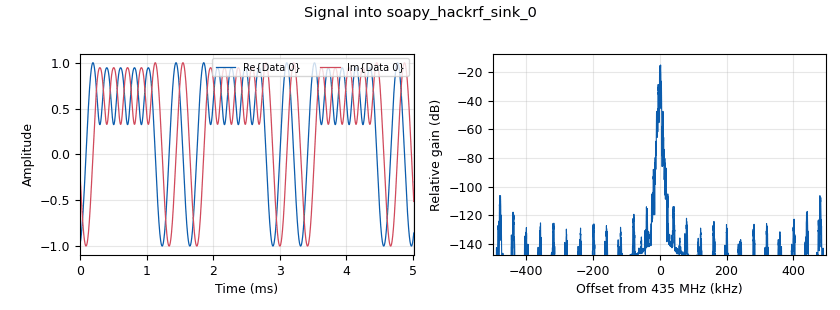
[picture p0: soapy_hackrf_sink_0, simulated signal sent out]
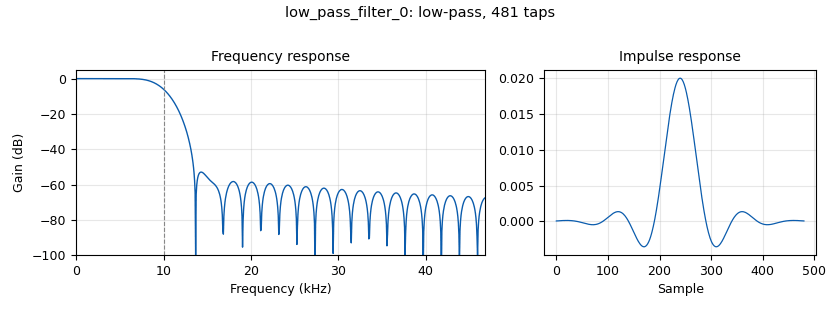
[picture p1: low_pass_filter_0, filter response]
options:
  parameters:
    author: Swarnava Ghosh
    copyright: University of Toronto Aerospace Team
    generate_options: qt_gui
    id: gfsk_loopback
    output_language: python
    title: GFSK TX/RX
  states: {}

blocks:
- name: freq
  id: variable
  parameters:
    value: 435e6
  states: {}
- name: freq_offset
  id: variable
  parameters:
    value: 300e3
  states: {}
- name: gfsk_bps
  id: variable
  parameters:
    value: '9600'
  states: {}
- name: gfsk_bt
  id: variable
  parameters:
    value: '0.5'
  states: {}
- name: gfsk_freq_dev
  id: variable
  parameters:
    value: '2400'
  states: {}
- name: gfsk_mod_ind
  id: variable
  parameters:
    value: 2 * gfsk_freq_dev / gfsk_bps
  states: {}
- name: gfsk_samp_rate
  id: variable
  parameters:
    value: gfsk_sps * gfsk_bps
  states: {}
- name: gfsk_sensitivity
  id: variable
  parameters:
    value: 2*pi*gfsk_freq_dev/gfsk_samp_rate
  states: {}
- name: gfsk_sps
  id: variable
  parameters:
    value: '50'
  states: {}
- name: samp_rate
  id: variable
  parameters:
    value: 1e6
  states: {}
- name: analog_sig_source_x_1
  id: analog_sig_source_x
  parameters:
    amp: '1'
    freq: freq_offset
    offset: '0'
    phase: '0'
    samp_rate: samp_rate
    type: complex
    waveform: analog.GR_COS_WAVE
  states: {}
- name: blocks_multiply_xx_0
  id: blocks_multiply_xx
  parameters:
    type: complex
  states: {}
- name: blocks_uchar_to_float_0
  id: blocks_uchar_to_float
  parameters: {}
  states: {}
- name: blocks_vector_source_x_0
  id: blocks_vector_source_x
  parameters:
    repeat: 'True'
    type: byte
    vector: (0xAA, 0xFF)
  states: {}
- name: digital_gfsk_demod_0
  id: digital_gfsk_demod
  parameters:
    freq_error: '0.0'
    gain_mu: '0.175'
    mu: '0.5'
    omega_relative_limit: '0.005'
    samples_per_symbol: gfsk_sps
    sensitivity: gfsk_sensitivity
  states: {}
- name: digital_gfsk_mod_0
  id: digital_gfsk_mod
  parameters:
    bt: gfsk_bt
    samples_per_symbol: gfsk_sps
    sensitivity: gfsk_sensitivity
  states: {}
- name: import_0
  id: import
  parameters:
    imports: from math import pi
  states: {}
- name: low_pass_filter_0
  id: low_pass_filter
  parameters:
    cutoff_freq: 10e3
    decim: '5'
    gain: '1'
    samp_rate: samp_rate
    type: fir_filter_ccf
    width: 5e3
    win: window.WIN_HAMMING
  states: {}
- name: qtgui_time_sink_x_0
  id: qtgui_time_sink_x
  parameters:
    ctrlpanel: 'True'
    entags: 'False'
    size: '1024'
    srate: samp_rate
    type: float
    ymax: '2'
  states: {}
- name: rational_resampler_xxx_0
  id: rational_resampler_xxx
  parameters:
    decim: '12'
    interp: '25'
    type: ccc
  states: {}
- name: rational_resampler_xxx_1
  id: rational_resampler_xxx
  parameters:
    decim: '5'
    interp: '12'
    type: ccc
  states: {}
- name: soapy_hackrf_sink_0
  id: soapy_hackrf_sink
  parameters:
    center_freq: freq
    dev_args: '"driver=hackrf,serial=29e5f"'
    samp_rate: samp_rate
    type: fc32
  states: {}
- name: soapy_hackrf_source_0
  id: soapy_hackrf_source
  parameters:
    center_freq: freq + freq_offset
    dev_args: '"driver=hackrf,serial=f915f"'
    samp_rate: samp_rate
    type: fc32
  states: {}

connections:
- [analog_sig_source_x_1, '0', blocks_multiply_xx_0, '1']
- [blocks_multiply_xx_0, '0', low_pass_filter_0, '0']
- [blocks_uchar_to_float_0, '0', qtgui_time_sink_x_0, '0']
- [blocks_vector_source_x_0, '0', digital_gfsk_mod_0, '0']
- [digital_gfsk_demod_0, '0', blocks_uchar_to_float_0, '0']
- [digital_gfsk_mod_0, '0', rational_resampler_xxx_0, '0']
- [low_pass_filter_0, '0', rational_resampler_xxx_1, '0']
- [rational_resampler_xxx_0, '0', soapy_hackrf_sink_0, '0']
- [rational_resampler_xxx_1, '0', digital_gfsk_demod_0, '0']
- [soapy_hackrf_source_0, '0', blocks_multiply_xx_0, '0']

metadata:
  file_format: 1
  grc_version: 3.10.7.0
